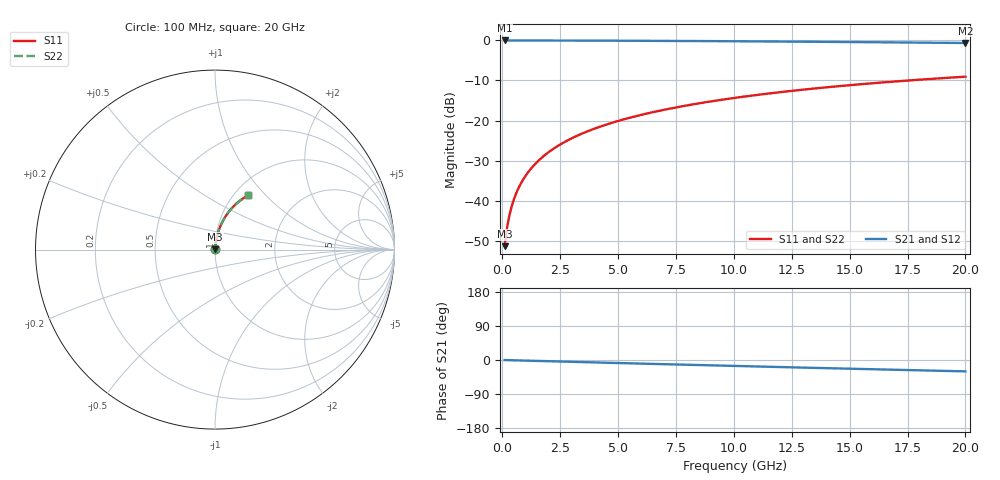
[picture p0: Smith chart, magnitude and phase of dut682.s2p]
! Touchstone file exported from HFSS 2026.1.0
!  File:  C:/ffzhzh/LocalFiles/Ansys_Project_Files/temp_train_TMRDL_682_1783010134_4048.aedt
!  Generated:  12:37:04 AM Jul  3, 2026
!  Design:  TMRDL
!  Project:  temp_train_TMRDL_682_1783010134_4048
! Variables:
!  h_bsmrdl = 2um
!  h_ox = 20um
!  h_rdl = 5um
!  h_sub = 80um
!  h_tmrdl = 5.31um
!  h_tsv = 80um
!  h_via = 3um
!  l_bsmrdl = 300um
!  l_sub = 760.28um
!  l_tmrdl = 360.28um
!  m_sub = 200um
!  pitch = 56.35um
!  r_tsv = 6um
!  s_tmrdl = 10um
!  w_bsmrdl = 18um
!  w_sub = 500um
!  w_tmrdl = 14.7um
!  x_tsv_center1 = 367.63um
!  x_tsv_center2 = 685.63um
!  x_tsv_center3 = 1060.61um
!  x_tsv_center4 = 1378.61um
!  x_tsv_center5 = 1753.59um
!  x_tsv_center6 = 2071.59um
# GHz S MA R 50.000000
! Terminal data exported
! Port[1] = TM_RDL1_1_T1
! Port[2] = TM_RDL1_1_T2
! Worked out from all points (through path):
!   200 points, 100 MHz to 20 GHz, reference 50 ohm
!   highest |S21| = -0.02 dB at 100 MHz (marker M1); lowest = -0.6 dB at 20 GHz (marker M2)
!   group delay of S21, straight-line fit = 4.17 ps
!   lowest |S11| = -51.3 dB at 100 MHz (marker M3), VSWR 1.01, Z = 50.2 + j0.209 ohm
!   |S11| at or under -10 dB: start of sweep to 17.53 GHz
!   |S22| runs from -51.3 to -9.0 dB; largest |S21 - S12| = 3.5e-15
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0.1  0.002715 50.2  0.9983 -0.2  0.9983 -0.2  0.002715 50.2
! Gamma 0 0 0 0
! Port Impedance 50 0 50 0
0.2  0.004519 66.5  0.9982 -0.3  0.9982 -0.3  0.004519 66.5
0.3  0.006452 73.0  0.9982 -0.5  0.9982 -0.5  0.006452 73.0
0.4  0.008417 76.5  0.9981 -0.7  0.9981 -0.7  0.008417 76.5
0.5  0.0104 78.6  0.998 -0.8  0.998 -0.8  0.0104 78.6
0.7  0.01438 81.0  0.9979 -1.1  0.9979 -1.1  0.01438 81.0
0.8  0.01638 81.7  0.9979 -1.3  0.9979 -1.3  0.01638 81.7
1  0.02038 82.6  0.9978 -1.6  0.9978 -1.6  0.02038 82.6
1.2  0.02439 83.1  0.9976 -1.9  0.9976 -1.9  0.02439 83.1
1.4  0.02839 83.3  0.9974 -2.3  0.9974 -2.3  0.02839 83.3
1.7  0.03439 83.4  0.9971 -2.8  0.9971 -2.8  0.03439 83.4
2  0.04037 83.4  0.9968 -3.2  0.9968 -3.2  0.04037 83.4
2.7  0.05425 82.8  0.9958 -4.4  0.9958 -4.4  0.05425 82.8
3.5  0.06994 81.8  0.9944 -5.6  0.9944 -5.6  0.06994 81.8
4.2  0.08353 80.9  0.993 -6.7  0.993 -6.7  0.08353 80.9
5  0.0989 79.8  0.9912 -8.0  0.9912 -8.0  0.0989 79.8
6.8  0.1329 77.2  0.9865 -10.8  0.9865 -10.8  0.1329 77.2
8.3  0.1605 75.1  0.9818 -13.1  0.9818 -13.1  0.1605 75.1
10.1  0.193 72.5  0.9754 -15.8  0.9754 -15.8  0.193 72.5
13.4  0.25 67.8  0.9617 -20.7  0.9617 -20.7  0.25 67.8
16.7  0.3034 63.2  0.9457 -25.4  0.9457 -25.4  0.3034 63.2
20  0.3528 58.8  0.9281 -30.0  0.9281 -30.0  0.3529 58.8
